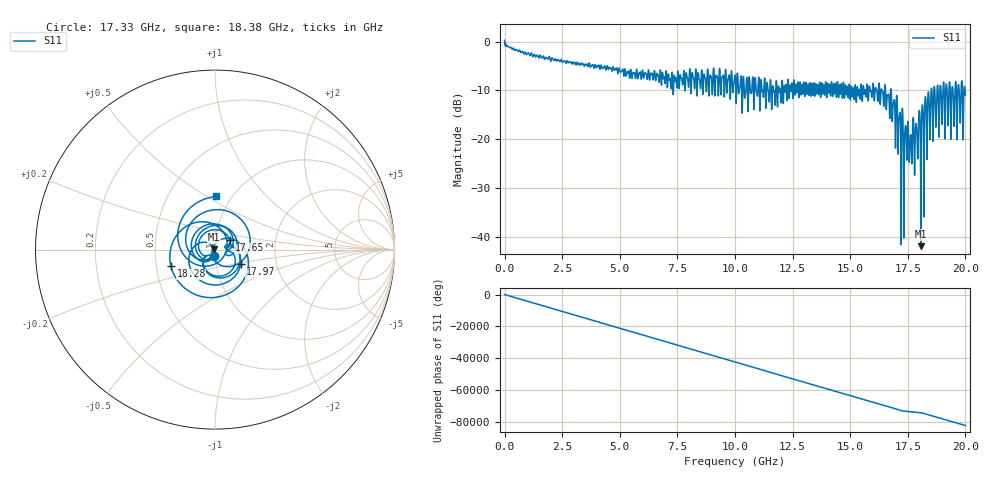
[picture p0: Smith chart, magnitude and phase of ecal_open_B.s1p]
! MS46122B
! 2250307/22442219
! 6/13/2025 8:40:43 AM
! C:\USERS\SPARKY\DOCUMENTS\VNA_DATA\JUNE13_2025\ECAL_OPEN_B.S1P
! CHANNEL.1
! TR.MEASUREMENT
! RAW.DATA
# GHZ S RI R 50.0
! FREQ.GHZ  S11RE  S11IM
!; PortSelection: Port_1
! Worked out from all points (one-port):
!   10001 points, 1 MHz to 20 GHz, reference 50 ohm
!   lowest |S11| = -41.9 dB at 18.06 GHz (marker M1), VSWR 1.02, Z = 49.2 + j0.221 ohm
!   |S11| at or under -10 dB: 16.38 GHz to 16.49 GHz (113.8 MHz wide, 0.692 % of centre); 16.53 GHz to 16.76 GHz (224 MHz wide, 1.35 % of centre); 16.78 GHz to 18.51 GHz (1.734 GHz wide, 9.83 % of centre) (the widest 3 of 96)
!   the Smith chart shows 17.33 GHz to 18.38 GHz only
!   S11 on the Smith chart (normalised r, x): 17.33 GHz: 0.99, -0.07; 17.65 GHz: 1.17, +0.12; 17.97 GHz: 1.31, -0.22; 18.28 GHz: 0.60, -0.12; 18.38 GHz: 0.85, +0.55
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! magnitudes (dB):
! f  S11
! 1 MHz  0.2
! 2.501 GHz  -4.2
! 5.001 GHz  -5.9
! 7.501 GHz  -7.3
! 10 GHz  -6.8
! 11.67 GHz  -10.3
! 12.5 GHz  -10.8
! 15 GHz  -11.7
! 16.58 GHz  -12.4
! 17.09 GHz  -20.1
! 17.28 GHz  -14.6
! 17.33 GHz  -29.0
! 17.5 GHz  -16.4
! 17.65 GHz  -20.3
! 17.87 GHz  -16.8
! 17.93 GHz  -23.8
! 17.97 GHz  -15.7
! 18.06 GHz  -41.9
! 18.13 GHz  -13.1
! 18.19 GHz  -31.8
! 18.28 GHz  -11.6
! 18.32 GHz  -23.1
! 18.38 GHz  -10.6
! 18.46 GHz  -20.1
! 18.52 GHz  -9.6
! 18.72 GHz  -17.5
! 19.45 GHz  -9.4
! 20 GHz  -11.0
